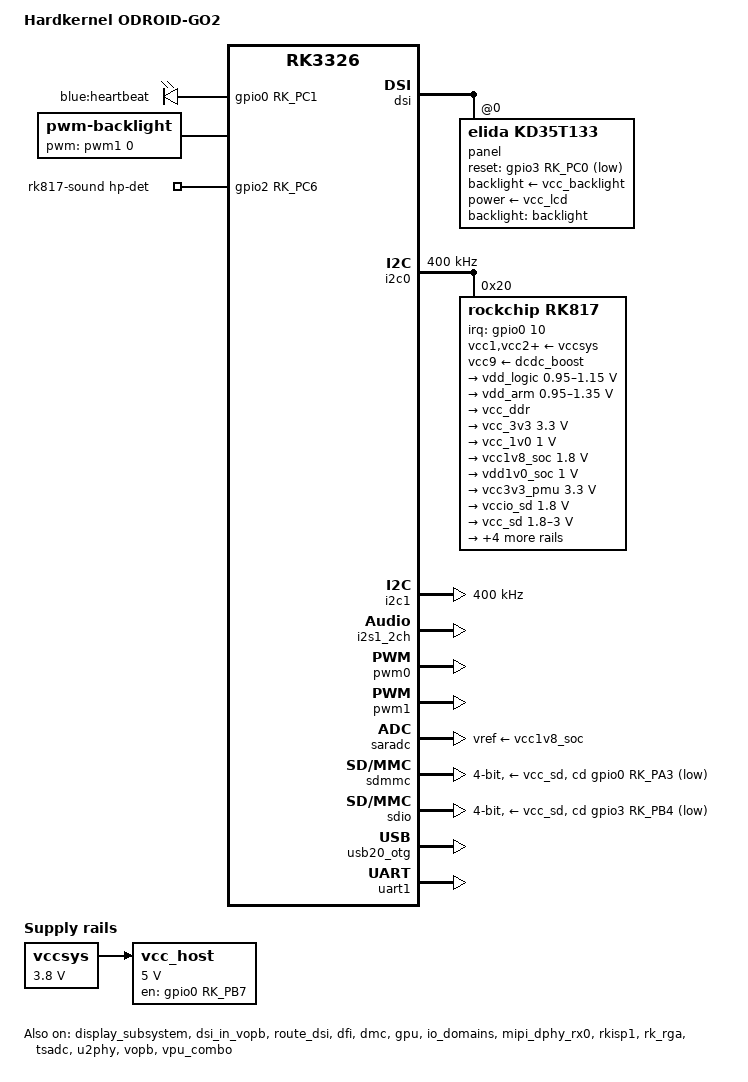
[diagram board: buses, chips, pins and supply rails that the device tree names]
// SPDX-License-Identifier: (GPL-2.0+ OR MIT)
/*
 * Copyright (c) 2019 Hardkernel Co., Ltd
 */

/dts-v1/;
#include <dt-bindings/display/drm_mipi_dsi.h>
#include <dt-bindings/gpio/gpio.h>
#include <dt-bindings/input/input.h>
#include <dt-bindings/pinctrl/rockchip.h>
#include <dt-bindings/sensor-dev.h>
#include "rk3326.dtsi"
#include "rk3326-linux.dtsi"

/ {
	model = "Hardkernel ODROID-GO2";
	compatible = "rockchip,rk3326-odroidgo2-linux", "rockchip,rk3326";

	chosen {
                bootargs = "";
	};

	fiq-debugger {
		compatible = "rockchip,fiq-debugger";
		rockchip,serial-id = <2>;
		rockchip,wake-irq = <0>;
		/* If enable uart uses irq instead of fiq */
		rockchip,irq-mode-enable = <0>;
		rockchip,baudrate = <115200>;  /* Only 115200 and 1500000 */
		interrupts = <GIC_SPI 127 IRQ_TYPE_LEVEL_LOW>;
		pinctrl-names = "default";
		pinctrl-0 = <&uart2m1_xfer>;
		status = "okay";
	};

	leds: gpio_leds {
		compatible = "gpio-leds";

		pinctrl-names = "led_pins";
		pinctrl-0 = <&led_pins>;

		/* Blue LED : GPIO0_C1 */
		heartbeat {
			label = "blue:heartbeat";
			gpios = <&gpio0 RK_PC1 GPIO_ACTIVE_HIGH>;
			linux,default-trigger = "heartbeat";
		};
	};

	backlight: backlight {
		compatible = "pwm-backlight";
		pwms = <&pwm1 0 25000 0>;
		brightness-levels = <
			  0   1   2   3   4   5   6   7
			  8   9  10  11  12  13  14  15
			 16  17  18  19  20  21  22  23
			 24  25  26  27  28  29  30  31
			 32  33  34  35  36  37  38  39
			 40  41  42  43  44  45  46  47
			 48  49  50  51  52  53  54  55
			 56  57  58  59  60  61  62  63
			 64  65  66  67  68  69  70  71
			 72  73  74  75  76  77  78  79
			 80  81  82  83  84  85  86  87
			 88  89  90  91  92  93  94  95
			 96  97  98  99 100 101 102 103
			104 105 106 107 108 109 110 111
			112 113 114 115 116 117 118 119
			120 121 122 123 124 125 126 127
			128 129 130 131 132 133 134 135
			136 137 138 139 140 141 142 143
			144 145 146 147 148 149 150 151
			152 153 154 155 156 157 158 159
			160 161 162 163 164 165 166 167
			168 169 170 171 172 173 174 175
			176 177 178 179 180 181 182 183
			184 185 186 187 188 189 190 191
			192 193 194 195 196 197 198 199
			200 201 202 203 204 205 206 207
			208 209 210 211 212 213 214 215
			216 217 218 219 220 221 222 223
			224 225 226 227 228 229 230 231
			232 233 234 235 236 237 238 239
			240 241 242 243 244 245 246 247
			248 249 250 251 252 253 254 255>;
		default-brightness-level = <200>;
	};

	rk817-sound {
		compatible = "simple-audio-card";
		simple-audio-card,format = "i2s";
		simple-audio-card,name = "rockchip,rk817-codec";
		simple-audio-card,mclk-fs = <256>;
		simple-audio-card,widgets =
			"Microphone", "Mic Jack",
			"Headphone", "Headphone Jack";
		simple-audio-card,routing =
			"MIC_IN", "Mic Jack",
			/*"IN1P", "Mic Jack",*/
			"Headphone Jack", "HPOL",
			"Headphone Jack", "HPOR";
		simple-audio-card,hp-det-gpio = <&gpio2 RK_PC6 GPIO_ACTIVE_HIGH>;
		simple-audio-card,codec-hp-det = <1>;
		simple-audio-card,cpu {
			sound-dai = <&i2s1_2ch>;
		};
		simple-audio-card,codec {
			sound-dai = <&rk817_codec>;
		};
	};

	vccsys: vccsys {
		compatible = "regulator-fixed";
		regulator-name = "vcc3v8_sys";
		regulator-always-on;
		regulator-min-microvolt = <3800000>;
		regulator-max-microvolt = <3800000>;
	};

	vcc_host: vcc_host {
		compatible = "regulator-fixed";
		regulator-name = "vcc_host";
		regulator-min-microvolt = <5000000>;
		regulator-max-microvolt = <5000000>;

		gpio = <&gpio0 RK_PB7 GPIO_ACTIVE_HIGH>;
		enable-active-high;
		regulator-always-on;
		vin-supply = <&vccsys>;
	};

};


&bus_apll {
	bus-supply = <&vdd_logic>;
	status = "okay";
};

&cpu0 {
	cpu-supply = <&vdd_arm>;
};

&cpu0_opp_table {
	rockchip,avs = <1>;

	/* bin scaling clock 1.296MHz */
	rockchip,bin-scaling-sel = <
		0               13
		1               13
	>;

	/delete-node/ opp-408000000;
	/delete-node/ opp-600000000;
	/delete-node/ opp-816000000;
	/delete-node/ opp-1416000000;
};

&display_subsystem {
	status = "okay";
};

&dsi {
	status = "okay";

	panel@0 {
		compatible = "elida,kd35t133", "simple-panel-dsi";
		reg = <0>;

		/* pwm1 backlight */
		backlight = <&backlight>;
		/* RK817 LDO7 */
		backlight-supply = <&vcc_backlight>;
		/* RK817 LDO8 */
		power-supply = <&vcc_lcd>;

		/* Rev 0.2 LCD reset gpio GPIO3.C0 */
		reset-gpios = <&gpio3 RK_PC0 GPIO_ACTIVE_LOW>;

		prepare-delay-ms = <2>;
		reset-delay-ms = <1>;
		init-delay-ms = <20>;
		enable-delay-ms = <120>;
		disable-delay-ms = <50>;
		unprepare-delay-ms = <20>;

		/* LCD size */
		width-mm = <52>;
		height-mm = <70>;

		dsi,flags = <(MIPI_DSI_MODE_VIDEO           |
			      MIPI_DSI_MODE_VIDEO_BURST     |
			      MIPI_DSI_MODE_LPM             |
			      MIPI_DSI_MODE_EOT_PACKET)>;

		dsi,format = <MIPI_DSI_FMT_RGB888>;
		dsi,lanes = <4>;
		panel-init-sequence = [
			15 00 02 FF 30
			15 00 02 FF 52
			15 00 02 FF 01
			15 00 02 E3 00
			15 00 02 40 0A
			15 00 02 03 40
			15 00 02 04 00
			15 00 02 05 03
			15 00 02 24 12
			15 00 02 25 1E
			15 00 02 26 28
			15 00 02 27 52
			15 00 02 28 57
			15 00 02 29 01
			15 00 02 2A DF
			15 00 02 38 9C
			15 00 02 39 A7
			15 00 02 3A 53
			15 00 02 44 00
			15 00 02 49 3C
			15 00 02 59 FE
			15 00 02 5C 00
			15 00 02 91 77
			15 00 02 92 77
			15 00 02 A0 55
			15 00 02 A1 50
			15 00 02 A4 9C
			15 00 02 A7 02
			15 00 02 A8 01
			15 00 02 A9 01
			15 00 02 AA FC
			15 00 02 AB 28
			15 00 02 AC 06
			15 00 02 AD 06
			15 00 02 AE 06
			15 00 02 AF 03
			15 00 02 B0 08
			15 00 02 B1 26
			15 00 02 B2 28
			15 00 02 B3 28
			15 00 02 B4 33
			15 00 02 B5 08
			15 00 02 B6 26
			15 00 02 B7 08
			15 00 02 B8 26
			15 00 02 FF 30
			15 00 02 FF 52
			15 00 02 FF 02
			15 00 02 B0 0B
			15 00 02 B1 16
			15 00 02 B2 17
			15 00 02 B3 2C
			15 00 02 B4 32
			15 00 02 B5 3B
			15 00 02 B6 29
			15 00 02 B7 40
			15 00 02 B8 0D
			15 00 02 B9 05
			15 00 02 BA 12
			15 00 02 BB 10
			15 00 02 BC 12
			15 00 02 BD 15
			15 00 02 BE 19
			15 00 02 BF 0E
			15 00 02 C0 16
			15 00 02 C1 0A
			15 00 02 D0 0C
			15 00 02 D1 17
			15 00 02 D2 14
			15 00 02 D3 2E
			15 00 02 D4 32
			15 00 02 D5 3C
			15 00 02 D6 22
			15 00 02 D7 3D
			15 00 02 D8 0D
			15 00 02 D9 07
			15 00 02 DA 13
			15 00 02 DB 13
			15 00 02 DC 11
			15 00 02 DD 15
			15 00 02 DE 19
			15 00 02 DF 10
			15 00 02 E0 17
			15 00 02 E1 0A
			15 00 02 FF 30
			15 00 02 FF 52
			15 00 02 FF 03
			15 00 02 00 2A
			15 00 02 01 2A
			15 00 02 02 2A
			15 00 02 03 2A
			15 00 02 04 61
			15 00 02 05 80
			15 00 02 06 C7
			15 00 02 07 01
			15 00 02 08 82
			15 00 02 09 83
			15 00 02 30 2A
			15 00 02 31 2A
			15 00 02 32 2A
			15 00 02 33 2A
			15 00 02 34 61
			15 00 02 35 C5
			15 00 02 36 80
			15 00 02 37 23
			15 00 02 40 82
			15 00 02 41 83
			15 00 02 42 80
			15 00 02 43 81
			15 00 02 44 11
			15 00 02 45 E6
			15 00 02 46 E5
			15 00 02 47 11
			15 00 02 48 E8
			15 00 02 49 E7
			15 00 02 50 02
			15 00 02 51 01
			15 00 02 52 04
			15 00 02 53 03
			15 00 02 54 11
			15 00 02 55 EA
			15 00 02 56 E9
			15 00 02 57 11
			15 00 02 58 EC
			15 00 02 59 EB
			15 00 02 7E 02
			15 00 02 7F 80
			15 00 02 E0 5A
			15 00 02 B1 00
			15 00 02 B4 0E
			15 00 02 B5 0F
			15 00 02 B6 04
			15 00 02 B7 07
			15 00 02 B8 06
			15 00 02 B9 05
			15 00 02 BA 0F
			15 00 02 C7 00
			15 00 02 CA 0E
			15 00 02 CB 0F
			15 00 02 CC 04
			15 00 02 CD 07
			15 00 02 CE 06
			15 00 02 CF 05
			15 00 02 D0 0F
			15 00 02 81 0F
			15 00 02 84 0E
			15 00 02 85 0F
			15 00 02 86 07
			15 00 02 87 04
			15 00 02 88 05
			15 00 02 89 06
			15 00 02 8A 00
			15 00 02 97 0F
			15 00 02 9A 0E
			15 00 02 9B 0F
			15 00 02 9C 07
			15 00 02 9D 04
			15 00 02 9E 05
			15 00 02 9F 06
			15 00 02 A0 00
			15 00 02 FF 30
			15 00 02 FF 52
			15 00 02 FF 02
			15 00 02 01 01
			15 00 02 02 DA
			15 00 02 03 BA
			15 00 02 04 A8
			15 00 02 05 9A
			15 00 02 06 70
			15 00 02 07 FF
			15 00 02 08 91
			15 00 02 09 90
			15 00 02 0A FF
			15 00 02 0B 8F
			15 00 02 0C 60
			15 00 02 0D 58
			15 00 02 0E 48
			15 00 02 0F 38
			15 00 02 10 2B
			15 00 02 FF 30
			15 00 02 FF 52
			15 00 02 FF 00
			15 00 02 36 02
			15 00 02 3A 70
			05 C8 01 11
			05 0A 01 29
		];

		/* 28: DisplayOff */
		/* 10: SleepIn */
		panel-exit-sequence = [
			05 14 01 28
			05 0A 01 10
		];

		display-timings {
			native-mode = <&timing0>;

			timing0: timing0 {
				clock-frequency = <60000000>;
				hactive = <640>;
				vactive = <480>;
				hfront-porch = <40>;
				hsync-len = <2>;
				hback-porch = <80>;
				vfront-porch = <18>;
				vsync-len = <2>;
				vback-porch = <28>;
				hsync-active = <0>;
				vsync-active = <0>;
				de-active = <0>;
				pixelclk-active = <0>;
			};
		};
	};
};

&dsi_in_vopb {
	status = "okay";
};

&route_dsi {
	connect = <&vopb_out_dsi>;
	status = "okay";
};

&dfi {
	status = "okay";
};

&dmc {
	center-supply = <&vdd_logic>;
	status = "okay";
};

&dmc_opp_table {
	/delete-node/ opp-194000000;
	/delete-node/ opp-328000000;
	/delete-node/ opp-450000000;

	opp-786000000 {
		status = "okay";
	};
};

&gpu_opp_table {
	/delete-node/ opp-200000000;
	/delete-node/ opp-300000000;
};

&emmc {
	status = "disabled";
};


&sfc {
	status = "disabled";
};

&gpu {
	mali-supply = <&vdd_logic>;
	status = "okay";
};

&i2c0 {
	status = "okay";
	clock-frequency = <400000>;
	i2c-scl-rising-time-ns = <280>;
	i2c-scl-falling-time-ns = <16>;

	rk817: pmic@20 {
		compatible = "rockchip,rk817";
		reg = <0x20>;
		interrupt-parent = <&gpio0>;
		interrupts = <10 IRQ_TYPE_LEVEL_LOW>;
		pinctrl-names = "default", "pmic-sleep",
				"pmic-power-off", "pmic-reset";
		pinctrl-0 = <&pmic_int>;
		pinctrl-1 = <&soc_slppin_slp>, <&rk817_slppin_slp>;
		pinctrl-2 = <&soc_slppin_gpio>, <&rk817_slppin_pwrdn>;
		pinctrl-3 = <&soc_slppin_rst>, <&rk817_slppin_rst>;
		rockchip,system-power-controller;
		wakeup-source;
		#clock-cells = <1>;
		clock-output-names = "rk808-clkout1", "rk808-clkout2";
		//fb-inner-reg-idxs = <2>;

		/* 1: rst regs (default in codes), 0: rst the pmic */
		pmic-reset-func = <1>;

		vcc1-supply = <&vccsys>;
		vcc2-supply = <&vccsys>;
		vcc3-supply = <&vccsys>;
		vcc4-supply = <&vccsys>;
		vcc5-supply = <&vccsys>;
		vcc6-supply = <&vccsys>;
		vcc7-supply = <&vccsys>;
		vcc8-supply = <&vccsys>;
		vcc9-supply = <&dcdc_boost>;

		pwrkey {
			status = "okay";
		};

		pinctrl_rk8xx: pinctrl_rk8xx {
			gpio-controller;
			#gpio-cells = <2>;

			rk817_ts_gpio1: rk817_ts_gpio1 {
				pins = "gpio_ts";
				function = "pin_fun1";
				/* output-low; */
				/* input-enable; */
			};

			rk817_gt_gpio2: rk817_gt_gpio2 {
				pins = "gpio_gt";
				function = "pin_fun1";
			};

			rk817_pin_ts: rk817_pin_ts {
				pins = "gpio_ts";
				function = "pin_fun0";
			};

			rk817_pin_gt: rk817_pin_gt {
				pins = "gpio_gt";
				function = "pin_fun0";
			};

			rk817_slppin_null: rk817_slppin_null {
				pins = "gpio_slp";
				function = "pin_fun0";
			};

			rk817_slppin_slp: rk817_slppin_slp {
				pins = "gpio_slp";
				function = "pin_fun1";
			};

			rk817_slppin_pwrdn: rk817_slppin_pwrdn {
				pins = "gpio_slp";
				function = "pin_fun2";
			};

			rk817_slppin_rst: rk817_slppin_rst {
				pins = "gpio_slp";
				function = "pin_fun3";
			};
		};

		regulators {
			vdd_logic: DCDC_REG1 {
				regulator-always-on;
				regulator-boot-on;
				regulator-min-microvolt = <950000>;
				regulator-max-microvolt = <1150000>;
				regulator-ramp-delay = <6001>;
				regulator-initial-mode = <0x2>;
				regulator-name = "vdd_logic";
				regulator-state-mem {
					regulator-on-in-suspend;
					regulator-suspend-microvolt = <950000>;
				};
			};

			vdd_arm: DCDC_REG2 {
				regulator-always-on;
				regulator-boot-on;
				regulator-min-microvolt = <950000>;
				regulator-max-microvolt = <1350000>;
				regulator-ramp-delay = <6001>;
				regulator-initial-mode = <0x2>;
				regulator-name = "vdd_arm";
				regulator-state-mem {
					regulator-off-in-suspend;
					regulator-suspend-microvolt = <950000>;
				};
			};

			vcc_ddr: DCDC_REG3 {
				regulator-always-on;
				regulator-boot-on;
				regulator-initial-mode = <0x2>;
				regulator-name = "vcc_ddr";
				regulator-state-mem {
					regulator-on-in-suspend;
				};
			};

			vcc_3v3: DCDC_REG4 {
				regulator-always-on;
				regulator-boot-on;
				regulator-min-microvolt = <3300000>;
				regulator-max-microvolt = <3300000>;
				regulator-initial-mode = <0x2>;
				regulator-name = "vcc_3v3";
				regulator-state-mem {
					regulator-off-in-suspend;
					regulator-suspend-microvolt = <3300000>;
				};
			};

			/* Not Used */
			vcc_1v0: LDO_REG1 {
				regulator-min-microvolt = <1000000>;
				regulator-max-microvolt = <1000000>;
				regulator-name = "vcc_1v0";
				regulator-state-mem {
					regulator-off-in-suspend;
					regulator-suspend-microvolt = <1000000>;
				};
			};

			vcc1v8_soc: LDO_REG2 {
				regulator-always-on;
				regulator-boot-on;
				regulator-min-microvolt = <1800000>;
				regulator-max-microvolt = <1800000>;

				regulator-name = "vcc1v8_soc";
				regulator-state-mem {
					regulator-on-in-suspend;
					regulator-suspend-microvolt = <1800000>;
				};
			};

			vdd1v0_soc: LDO_REG3 {
				regulator-always-on;
				regulator-boot-on;
				regulator-min-microvolt = <1000000>;
				regulator-max-microvolt = <1000000>;

				regulator-name = "vcc1v0_soc";
				regulator-state-mem {
					regulator-on-in-suspend;
					regulator-suspend-microvolt = <1000000>;
				};
			};

			vcc3v3_pmu: LDO_REG4 {
				regulator-always-on;
				regulator-boot-on;
				regulator-min-microvolt = <3300000>;
				regulator-max-microvolt = <3300000>;

				regulator-name = "vcc3v3_pmu";
				regulator-state-mem {
					regulator-on-in-suspend;
					regulator-suspend-microvolt = <3300000>;

				};
			};

			vccio_sd: LDO_REG5 {
				regulator-always-on;
				regulator-boot-on;
				regulator-min-microvolt = <1800000>;
				regulator-max-microvolt = <1800000>;

				regulator-name = "vccio_sd";
				regulator-state-mem {
					regulator-on-in-suspend;
					regulator-suspend-microvolt = <1800000>;
				};
			};

			vcc_sd: LDO_REG6 {
				regulator-min-microvolt = <1800000>;
				regulator-max-microvolt = <3000000>;
				regulator-boot-on;

				regulator-name = "vcc_sd";
				regulator-state-mem {
					regulator-on-in-suspend;
					regulator-suspend-microvolt = <3000000>;

				};
			};

			/* Rev 0.2 LCD Backlight Power */
			vcc_backlight: LDO_REG7 {
				regulator-min-microvolt = <3300000>;
				regulator-max-microvolt = <3300000>;
				regulator-name = "vcc_backlight";
				regulator-state-mem {
					regulator-off-in-suspend;
					regulator-suspend-microvolt = <3300000>;
				};
			};

			/* Rev 0.2 LCD IO Power */
			vcc_lcd: LDO_REG8 {
				regulator-min-microvolt = <2800000>;
				regulator-max-microvolt = <2800000>;
				regulator-name = "vcc_lcd";
				regulator-state-mem {
					regulator-off-in-suspend;
					regulator-suspend-microvolt = <2800000>;
				};
			};



			dcdc_boost: BOOST {
				regulator-always-on;
				regulator-boot-on;
				regulator-min-microvolt = <5000000>;
				regulator-max-microvolt = <5400000>;
				regulator-name = "boost";
			};

			otg_switch: OTG_SWITCH {
				regulator-boot-on;
				regulator-name = "otg_switch";
			};
		};

		battery {
			compatible = "rk817,battery";
			ocv_table = <3165 3220 3280 3330 3380 3430 3480
			3530 3580 3630 3670 3710 3750 3790
			3830 3870 3910 3950 3990 3995 4000>;


			/* KPL605475 Battery Spec */
			/*
				Capacity : 3.7V 3000mA
				Normal Voltage = 3.7V
				Cut-Off Voltage : 3.1V
				Internal Impedance : 180 mOhm
				Charging Voltage : 4.2V
				Charging Voltage Max : 4.25V
				Sample resister : 10 mohm
			*/
			design_capacity = <3380>;
			design_qmax = <3718>;
			bat_res = <100>;
			sleep_enter_current = <300>;
			sleep_exit_current = <300>;
			sleep_filter_current = <100>;
			power_off_thresd = <3000>;
			zero_algorithm_vol = <3850>;
			max_soc_offset = <60>;
			monitor_sec = <5>;
			virtual_power = <0>;
			sample_res = <10>;
			power_dc2otg = <0>;
		};

		charger {
			compatible = "rk817,charger";
			min_input_voltage = <4500>;
			max_input_current = <1500>;
			max_chrg_current = <2000>;
			max_chrg_voltage = <4200>;
			chrg_term_mode = <0>;
			chrg_finish_cur = <52>;
			virtual_power = <0>;
			sample_res = <10>;


			/* P.C.B rev0.2 DC Detect & Charger Status LED GPIO */
			dc_det_gpio  = <&gpio0 RK_PB3 GPIO_ACTIVE_HIGH>;
			bat_low_gpio = <&gpio2 RK_PB5 GPIO_ACTIVE_HIGH>;

			extcon = <&u2phy>;
		};

		rk817_codec: codec {
			#sound-dai-cells = <0>;
			compatible = "rockchip,rk817-codec";
			clocks = <&cru SCLK_I2S1_OUT>;
			clock-names = "mclk";
			pinctrl-names = "default";
			pinctrl-0 = <&i2s1_2ch_mclk>;
			hp-volume = <20>;
			spk-volume = <3>;
			status = "okay";
		};
	};
};

/* EXT Header(P2) : 7(SCL:GPIO0.C2), 8(SDA:GPIO0.C3) */
&i2c1 {
	status = "okay";
	clock-frequency = <400000>;
};

/* MIPI CSI I2C */
&i2c2 {
	status = "disabled";
};

/* I2S 1 Channel Used */
&i2s1_2ch {
	status = "okay";
	#sound-dai-cells = <0>;
};

&io_domains {
	/* GRF Register Voltage select control */
	status = "okay";

	/* SDIO I/O Voltage */
	vccio1-supply = <&vccio_sd>;
	/* SDMMC I/O Voltage */
	vccio2-supply = <&vccio_sd>;
	/* CAM I/O Voltage */
	vccio3-supply = <&vcc_3v3>;
	/* LVDS/LCDC I/O Voltage */
	vccio4-supply = <&vcc_3v3>;
	/* I2S I/O Voltage */
	vccio5-supply = <&vcc_3v3>;
	/* eMMC I/O Voltage */
	vccio6-supply = <&vcc_3v3>;
};

&isp_mmu {
	status = "okay";
};

&mipi_dphy_rx0 {
	status = "okay";
};

&rkisp1 {
	status = "okay";
};

&spi0 {
	status = "disabled";
};

&pmu_io_domains {
	/* PMU GRF Register Voltage select control */
	status = "okay";

	/* PMU I/O Voltage */
	pmuio1-supply = <&vcc3v3_pmu>;
	/* GPIO0_B/GPIO0_C, Flash */
	pmuio2-supply = <&vcc3v3_pmu>;
};

&pwm0 {
	status = "okay";
};

/* LCD Backlight PWM */
&pwm1 {
	status = "okay";
};

&rk_rga {
	status = "okay";
};

&rockchip_suspend {
	status = "okay";
	rockchip,sleep-debug-en = <1>;
};

&saradc {
	status = "okay";
	vref-supply = <&vcc1v8_soc>;
};

&sdmmc {
	bus-width = <4>;
	cap-mmc-highspeed;
	cap-sd-highspeed;
	supports-sd;
	card-detect-delay = <800>;
	ignore-pm-notify;
	cd-gpios = <&gpio0 RK_PA3 GPIO_ACTIVE_LOW>; /*[> CD GPIO <]*/
	sd-uhs-sdr12;
	sd-uhs-sdr25;
	sd-uhs-sdr50;
	sd-uhs-sdr104;
	vqmmc-supply = <&vccio_sd>;
	vmmc-supply = <&vcc_sd>;
	status = "okay";
};

&sdio {
	bus-width = <4>;
	cap-mmc-highspeed;
	cap-sd-highspeed;
	supports-sd;
	card-detect-delay = <800>;
	ignore-pm-notify;
	cd-gpios = <&gpio3 RK_PB4 GPIO_ACTIVE_LOW>; /*[> CD GPIO <]*/
	sd-uhs-sdr12;
	sd-uhs-sdr25;
	sd-uhs-sdr50;
	sd-uhs-sdr104;
	vqmmc-supply = <&vccio_sd>;
	vmmc-supply = <&vcc_sd>;
	status = "okay";
};

&tsadc {
	pinctrl-names = "gpio", "otpout";
	pinctrl-0 = <&tsadc_otp_gpio>;
	pinctrl-1 = <&tsadc_otp_out>;
	status = "okay";
};

&u2phy {
	status = "okay";

	u2phy_host: host-port {
		status = "okay";
	};

	u2phy_otg: otg-port {
		status = "disabled";
	};
};

&usb20_otg {
	status = "okay";
};

/*
	EXT Header(P2) UART :
	2(RXD:GPIO1.C0),3(TXD:GPIO1.C1),4(CTS:GPIO1.C2),5(RTS:GPIO1.C3)
*/
&uart1 {
	pinctrl-names = "default";
	pinctrl-0 = <&uart1_xfer &uart1_cts>;
	status = "okay";
};

&vip_mmu {
	status = "okay";
};

&vopb {
	status = "okay";
};

&vopb_mmu {
	status = "okay";
};

&vpu_combo {
	status = "okay";
};

&pinctrl {

	pmic {
		/* ODROID-GO2 : PMIC_INT(GPIO0.PB2) */
		pmic_int: pmic_int {
			rockchip,pins =
				<0 RK_PB2 RK_FUNC_GPIO &pcfg_pull_up>,
				<0 RK_PB3 RK_FUNC_GPIO &pcfg_pull_none>;
		};

		/* ODROID-GO2 : PMIC_SLEEP(GPIO0.PA4) */
		soc_slppin_gpio: soc_slppin_gpio {
			rockchip,pins =
				<0 RK_PA4 RK_FUNC_GPIO &pcfg_output_low>;
		};

		soc_slppin_slp: soc_slppin_slp {
			rockchip,pins =
				<0 RK_PA4 RK_FUNC_1 &pcfg_pull_none>;
		};

		soc_slppin_rst: soc_slppin_rst {
			rockchip,pins =
				<0 RK_PA4 RK_FUNC_2 &pcfg_pull_none>;
		};
	};

	leds {
		led_pins: led-pins {
			rockchip,pins = <0 RK_PC1 RK_FUNC_GPIO &pcfg_pull_none>;
		};
	};
	btns {
		btn_pins: btn-pins {
			rockchip,pins = <1 RK_PB4 RK_FUNC_GPIO &pcfg_pull_up>,
					<1 RK_PB5 RK_FUNC_GPIO &pcfg_pull_up>,
					<1 RK_PB6 RK_FUNC_GPIO &pcfg_pull_up>,
					<1 RK_PB7 RK_FUNC_GPIO &pcfg_pull_up>,
					<1 RK_PA2 RK_FUNC_GPIO &pcfg_pull_up>,
					<1 RK_PA5 RK_FUNC_GPIO &pcfg_pull_up>,
					<1 RK_PA6 RK_FUNC_GPIO &pcfg_pull_up>,
					<1 RK_PA7 RK_FUNC_GPIO &pcfg_pull_up>,

					<2 RK_PA0 RK_FUNC_GPIO &pcfg_pull_up>,
					<2 RK_PA1 RK_FUNC_GPIO &pcfg_pull_up>,
					<2 RK_PA2 RK_FUNC_GPIO &pcfg_pull_up>,
					<2 RK_PA3 RK_FUNC_GPIO &pcfg_pull_up>,
					<2 RK_PA4 RK_FUNC_GPIO &pcfg_pull_up>,
					<2 RK_PA5 RK_FUNC_GPIO &pcfg_pull_up>,
					<2 RK_PA6 RK_FUNC_GPIO &pcfg_pull_up>,
					<2 RK_PA7 RK_FUNC_GPIO &pcfg_pull_up>,
					<3 RK_PB2 RK_FUNC_GPIO &pcfg_pull_up>,
					<3 RK_PB7 RK_FUNC_GPIO &pcfg_pull_up>;
		};
	};
};

/* DON'T PUT ANYTHING BELOW HERE.  PUT IT ABOVE PINCTRL */
/* DON'T PUT ANYTHING BELOW HERE.  PUT IT ABOVE PINCTRL */
/* DON'T PUT ANYTHING BELOW HERE.  PUT IT ABOVE PINCTRL */
